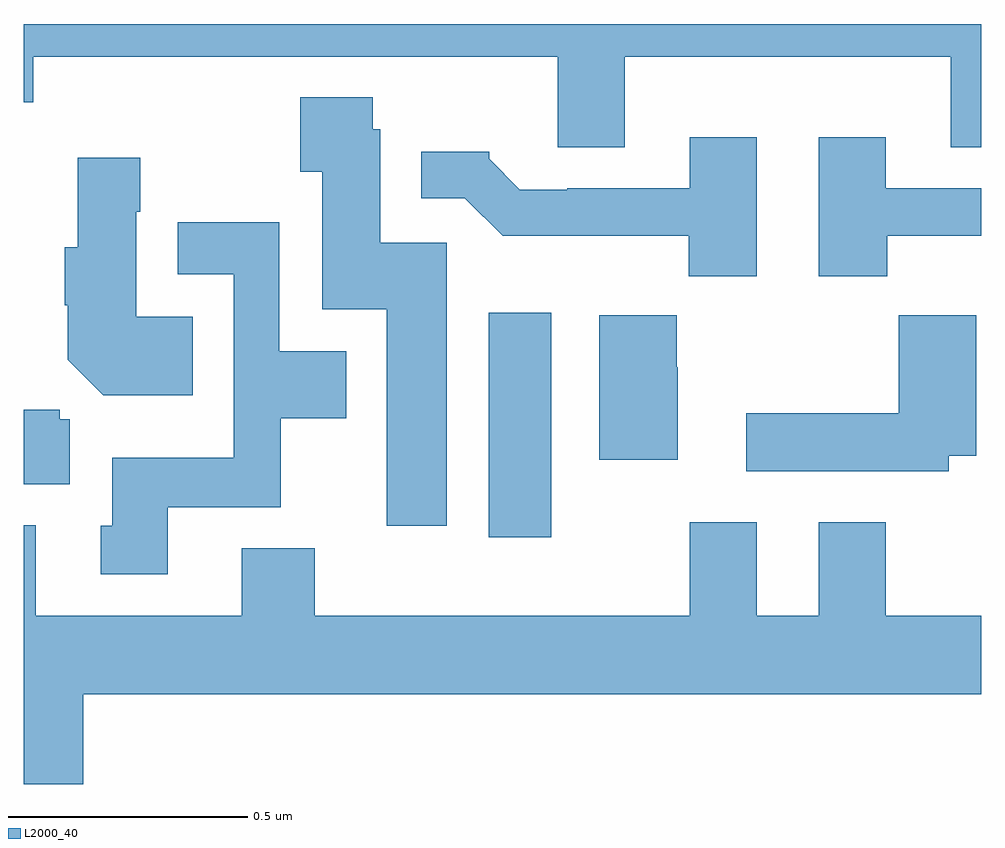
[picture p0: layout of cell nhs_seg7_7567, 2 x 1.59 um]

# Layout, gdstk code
import gdstk
lib = gdstk.Library(unit=1e-6, precision=1e-09)
def R(c, l, rs):  # rectangles x0, y0, x1, y1
    for r in rs: c.add(gdstk.rectangle(r[:2], r[2:], *l))
def P(c, l, *ps):  # polygons
    for p in ps: c.add(gdstk.Polygon(p, *l))
L2000_40 = (2000, 40)

nhs_seg7_7567 = lib.new_cell('nhs_seg7_7567')
R(nhs_seg7_7567, L2000_40, [(213.971,1016.928,214.102,1017.397)])
P(nhs_seg7_7567, L2000_40, [(214.255,1017.932),(214.937,1017.932),(214.937,1017.742),(215,1017.742),(215,1018),(213,1018),(213,1017.836),(213.02,1017.836),(213.02,1017.932),(214.115,1017.932),(214.115,1017.742),(214.255,1017.742)],
  [(213.883,1017.543),(213.745,1017.543),(213.745,1017.78),(213.729,1017.78),(213.729,1017.847),(213.577,1017.847),(213.577,1017.691),(213.623,1017.691),(213.623,1017.404),(213.758,1017.404),(213.758,1016.952),(213.883,1016.952)],
  [(214.531,1017.763),(214.391,1017.763),(214.391,1017.657),(214.135,1017.657),(214.135,1017.654),(214.036,1017.654),(213.972,1017.718),(213.972,1017.733),(213.83,1017.733),(213.83,1017.636),(213.921,1017.636),(214,1017.558),(214.389,1017.558),(214.389,1017.473),(214.531,1017.473)],
  [(214.804,1017.558),(215,1017.558),(215,1017.657),(214.801,1017.657),(214.801,1017.763),(214.661,1017.763),(214.661,1017.473),(214.804,1017.473)],
  [(213.353,1017.388),(213.235,1017.388),(213.235,1017.608),(213.243,1017.608),(213.243,1017.721),(213.113,1017.721),(213.113,1017.534),(213.085,1017.534),(213.085,1017.412),(213.092,1017.412),(213.092,1017.298),(213.166,1017.224),(213.353,1017.224)],
  [(213.301,1016.99),(213.537,1016.99),(213.537,1017.176),(213.673,1017.176),(213.673,1017.316),(213.534,1017.316),(213.534,1017.586),(213.321,1017.586),(213.321,1017.477),(213.438,1017.477),(213.438,1017.094),(213.185,1017.094),(213.185,1016.952),(213.161,1016.952),(213.161,1016.85),(213.301,1016.85)],
  [(214.932,1017.098),(214.99,1017.098),(214.99,1017.391),(214.828,1017.391),(214.828,1017.187),(214.509,1017.187),(214.509,1017.065),(214.932,1017.065)],
  [(214.366,1017.283),(214.364,1017.283),(214.364,1017.391),(214.202,1017.391),(214.202,1017.09),(214.366,1017.09)],
  [(213.096,1017.174),(213.075,1017.174),(213.075,1017.194),(213,1017.194),(213,1017.038),(213.096,1017.038)],
  [(213.124,1016.6),(215,1016.6),(215,1016.764),(214.801,1016.764),(214.801,1016.959),(214.661,1016.959),(214.661,1016.764),(214.531,1016.764),(214.531,1016.959),(214.391,1016.959),(214.391,1016.764),(213.608,1016.764),(213.608,1016.905),(213.455,1016.905),(213.455,1016.764),(213.025,1016.764),(213.025,1016.953),(213,1016.953),(213,1016.412),(213.124,1016.412)])

lib.write_gds('nhs_seg7_7567.gds')
